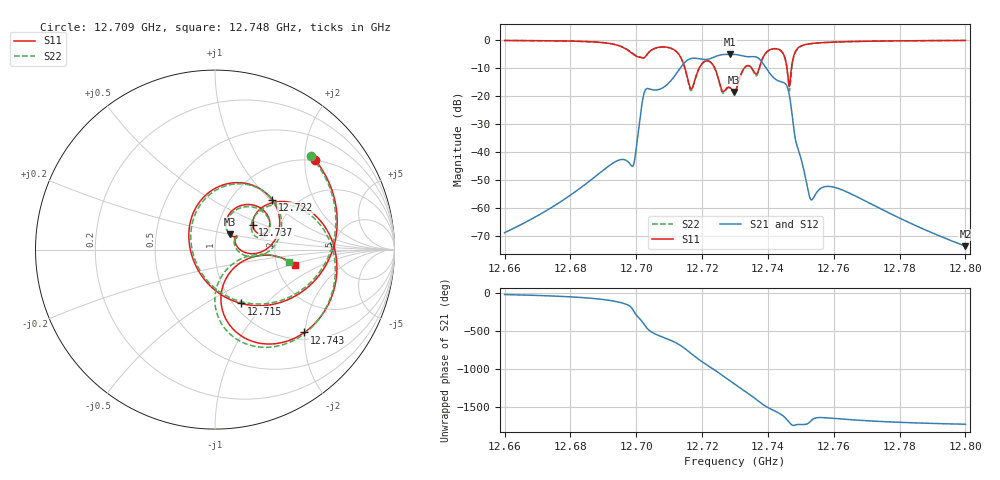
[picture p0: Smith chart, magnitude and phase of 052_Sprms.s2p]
! TOUCHSTONE file generated by CST MICROWAVE STUDIO
! Date and time: Wed Jul 31 13:18:20 2024
! Project name: WaveGuide_BPF-Ver4.1_U-shape_Ku_T3_C4_CWA_2.cst
! Parameters = {cavity_h=16; cavity_l0=10; cavity_l1=15.2102; cavity_l2=16.8794; cavity_l3=17.1291; cavity_l4=17.2686; cavity_l5=17.129; cavity_l6=17.6299; cavity_r=2.5; cavity_screw_l=0.5; cavity_screw_r=1.5; cavity_w=8; iris_h00=0; iris_h01=8.8005; iris_h112=0; iris_h12=5.5982; iris_h211=3.668; ir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
! Header version: 2018
! Port assignment regex: !\s*Touchstone port\s*([0-9]+)\s*=\s*(CST MWS port|CST DS port)\s*([0-9]+|Zmin|Zmax)\s*\(\"(.*)\"\)(\s*mode\s*([0-9]+))?.*
! Touchstone port assignment:
! Touchstone port 1 = CST MWS port 1 ("")
! Touchstone port 2 = CST MWS port 2 ("")
# GHz S RI R 50
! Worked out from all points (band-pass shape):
!   5001 points, 12.66 GHz to 12.8 GHz, reference 50 ohm
!   highest |S21| = -5.13 dB at 12.728 GHz (marker M1); lowest = -73.7 dB at 12.8 GHz (marker M2)
!   |S21| within 3 dB of the highest: 12.71462 GHz to 12.73835 GHz (23.72 MHz wide, 0.186 % of centre)
!   lowest |S11| = -18.6 dB at 12.73 GHz (marker M3), VSWR 1.27, Z = 58.1 + j9.94 ohm
!   |S11| at or under -10 dB: 12.71478 GHz to 12.71916 GHz (4.386 MHz wide, 0.0345 % of centre); 12.72382 GHz to 12.73281 GHz (8.99 MHz wide, 0.0706 % of centre); 12.73508 GHz to 12.73735 GHz (2.279 MHz wide, 0.0179 % of centre) (the widest 3 of 4)
!   |S22| runs from -19.0 to -0.2 dB; largest |S21 - S12| = 1e-09
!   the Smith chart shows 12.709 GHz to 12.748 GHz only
!   S11 on the Smith chart (normalised r, x): 12.709 GHz: 0.99, +2.24; 12.715 GHz: 1.08, -0.73; 12.722 GHz: 1.52, +1.02; 12.737 GHz: 1.46, +0.43; 12.743 GHz: 1.16, -1.99; 12.748 GHz: 2.52, -0.53
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12.66  0.3085 0.9304  0.000332 -0.000142  0.000332 -0.000142  0.3184 0.927
12.68335  0.7684 0.5485  0.0011 -0.00207  0.0011 -0.00207  0.7769 0.5361
12.69296  0.8325 -0.1383  -0.00191 -0.00604  -0.00191 -0.00604  0.8325 -0.1509
12.69788  0.1254 -0.6141  -0.00622 -0.00102  -0.00622 -0.00102  0.1432 -0.6249
12.70119  -0.49 0.0166  0.0419 0.00985  0.0419 0.00985  -0.4941 -0.0355
12.70668  0.2397 0.6976  -0.1235 0.0393  -0.1235 0.0393  0.1984 0.7036
12.70883  0.5578 0.4996  -0.0874 0.1224  -0.0874 0.1224  0.5331 0.5203
12.71466  0.1458 -0.3  0.3907 -0.051  0.3907 -0.051  0.1489 -0.2912
12.71748  -0.1459 0.0793  -0.1116 -0.4593  -0.1116 -0.4593  -0.1338 0.0993
12.72182  0.3194 0.276  -0.2592 0.3738  -0.2592 0.3738  0.3406 0.2513
12.72572  0.1399 -0.000713  0.5334 0.1013  0.5334 0.1013  0.1324 -0.0117
12.72843  0.1211 0.0736  0.172 -0.5266  0.172 -0.5266  0.1214 0.0658
12.72978  0.0824 0.0844  -0.2134 -0.5089  -0.2134 -0.5089  0.0827 0.077
12.73  0.0744 0.0937  -0.2722 -0.4788  -0.2722 -0.4788  0.075 0.0866
12.73263  0.1748 0.251  -0.4862 0.1698  -0.4862 0.1698  0.1838 0.2396
12.73669  0.2104 0.1371  0.3974 0.2861  0.3974 0.2861  0.2021 0.1197
12.74333  0.4984 -0.4614  -0.1337 -0.1271  -0.1337 -0.1271  0.4701 -0.4877
12.74582  0.0342 -0.2987  -0.1045 0.1038  -0.1045 0.1038  0.0012 -0.3117
12.74758  0.445 -0.0842  0.0161 0.0307  0.0161 0.0307  0.4124 -0.0701
12.75335  0.1515 -0.8522  -0.000967 0.00101  -0.000967 0.00101  0.1308 -0.8545
12.77668  -0.9284 -0.2491  -0.000262 0.000776  -0.000262 0.000776  -0.9327 -0.2346
12.8  -0.9466 0.2571  4.46e-05 0.000202  4.46e-05 0.000202  -0.9441 0.2668
